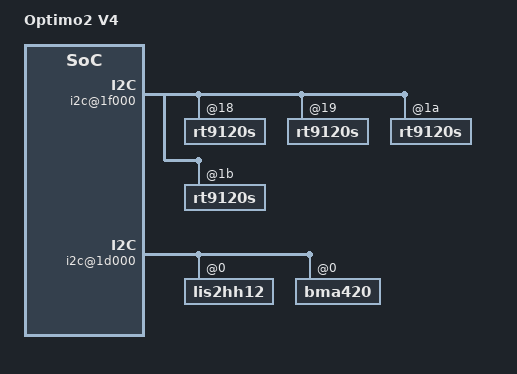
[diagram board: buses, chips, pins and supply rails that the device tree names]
/*
 * Copyright (c) 2021-2022, Sonos, Inc.
 *
 * SPDX-License-Identifier:     GPL-2.0
 *
 * v0	- Optimo2 p1a
 * v1	- Optimo2 p1b - board-only build
 * v2	- Optimo2 p2a - secure build, TI amps
 * v3	- Optimo2 p2a-2 - secure build, Richtek amps
 * v4	- Optimo2 p2b - added BT sync gpio change
 */

/dts-v1/;

#include "optimo_common.dtsi"

/ {
	model = "Optimo2 V4";

        sonos-product-id = <0x03>;

	dolby_fw {
		status = "okay";
	};

        soc {
                cbus@ffd00000 {
                        i2c@1f000 {
				rt9120s@18 {
					status = "okay";
				};
				rt9120s@19 {
					status = "okay";
				};
				rt9120s@1a {
					status = "okay";
				};
				rt9120s@1b {
					status = "okay";
				};
			};
			i2c@1d000 {
                                lis2hh12@0 {
                                        optimo2-orientation;
                                };
                                bma420@0 {
					optimo2-orientation;
				};
			};

		};
		aobus@ff800000 {
			i2c@5000 {
				/delete-node/ is31fl3195@54 ;
			};
		};
	};
};
